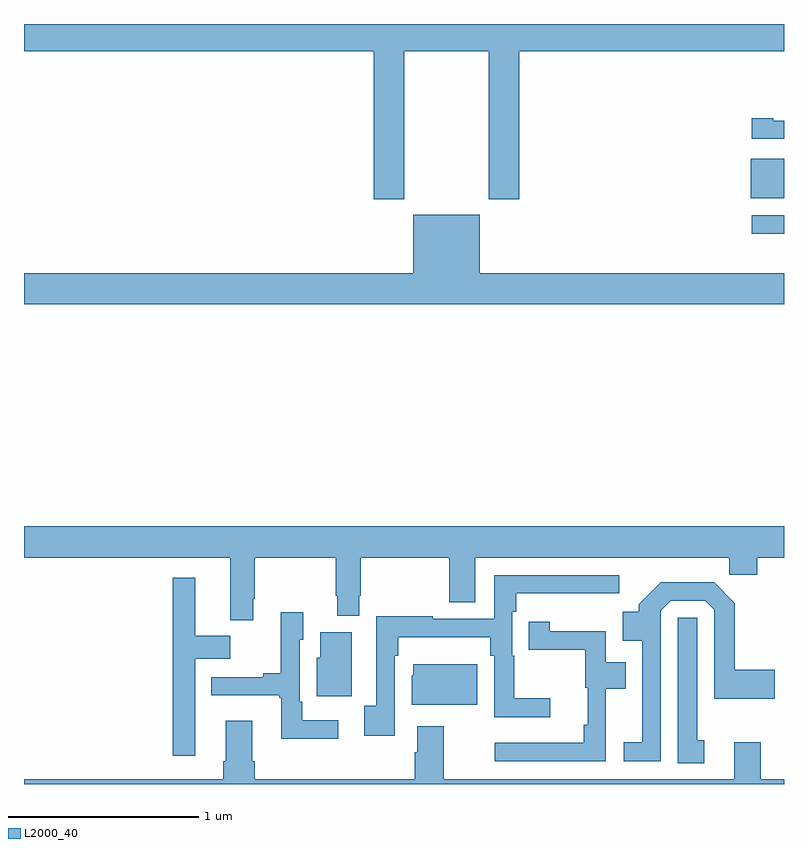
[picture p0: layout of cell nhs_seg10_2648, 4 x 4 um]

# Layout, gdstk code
import gdstk
lib = gdstk.Library(unit=1e-6, precision=1e-09)
def R(c, l, rs):  # rectangles x0, y0, x1, y1
    for r in rs: c.add(gdstk.rectangle(r[:2], r[2:], *l))
def P(c, l, *ps):  # polygons
    for p in ps: c.add(gdstk.Polygon(p, *l))
L2000_40 = (2000, 40)

nhs_seg10_2648 = lib.new_cell('nhs_seg10_2648')
R(nhs_seg10_2648, L2000_40, [(258.831,1259.397,259,1259.493), (258.824,1259.582,259,1259.791)])
P(nhs_seg10_2648, L2000_40, [(257.001,1260.356),(257.446,1260.356),(257.446,1259.577),(257.606,1259.577),(257.606,1260.356),(259,1260.356),(259,1260.5),(255,1260.5),(255,1260.356),(256.841,1260.356),(256.841,1259.577),(257.001,1259.577)],
  [(259,1259.991),(258.943,1259.991),(258.943,1260.004),(258.831,1260.004),(258.831,1259.895),(259,1259.895)],
  [(259,1259.188),(257.398,1259.188),(257.398,1259.497),(257.048,1259.497),(257.048,1259.188),(255,1259.188),(255,1259.024),(259,1259.024)],
  [(256.207,1257.475),(256.215,1257.475),(256.215,1257.692),(256.642,1257.692),(256.642,1257.49),(256.649,1257.49),(256.649,1257.385),(256.765,1257.385),(256.765,1257.49),(256.773,1257.49),(256.773,1257.692),(257.239,1257.692),(257.239,1257.456),(257.374,1257.456),(257.374,1257.692),(258.712,1257.692),(258.712,1257.602),(258.859,1257.602),(258.859,1257.692),(259,1257.692),(259,1257.856),(255,1257.856),(255,1257.692),(256.085,1257.692),(256.085,1257.363),(256.207,1257.363)],
  [(256.95,1257.176),(256.97,1257.176),(256.97,1257.272),(257.455,1257.272),(257.455,1257.176),(257.475,1257.176),(257.475,1256.852),(257.77,1256.852),(257.77,1256.952),(257.581,1256.952),(257.581,1257.176),(257.571,1257.176),(257.571,1257.407),(257.591,1257.407),(257.591,1257.503),(258.133,1257.503),(258.133,1257.6),(257.475,1257.6),(257.475,1257.369),(257.15,1257.369),(257.15,1257.382),(256.854,1257.382),(256.854,1256.913),(256.791,1256.913),(256.791,1256.754),(256.95,1256.754)],
  [(255.901,1256.915),(255.9,1256.915),(255.9,1257.158),(256.085,1257.158),(256.085,1257.28),(255.902,1257.28),(255.902,1257.586),(255.784,1257.586),(255.784,1256.649),(255.901,1256.649)],
  [(258.351,1257.411),(258.405,1257.465),(258.585,1257.465),(258.633,1257.417),(258.633,1256.948),(258.952,1256.948),(258.952,1257.101),(258.742,1257.101),(258.742,1257.452),(258.632,1257.562),(258.352,1257.562),(258.235,1257.445),(258.235,1257.406),(258.152,1257.406),(258.152,1257.254),(258.255,1257.254),(258.255,1256.72),(258.156,1256.72),(258.156,1256.619),(258.351,1256.619)],
  [(256.654,1256.835),(256.465,1256.835),(256.465,1256.932),(256.452,1256.932),(256.452,1257.258),(256.471,1257.258),(256.471,1257.403),(256.351,1257.403),(256.351,1257.083),(256.259,1257.083),(256.259,1257.063),(255.985,1257.063),(255.985,1256.966),(256.344,1256.966),(256.344,1256.955),(256.355,1256.955),(256.355,1256.738),(256.654,1256.738)],
  [(258.58,1256.73),(258.544,1256.73),(258.544,1257.375),(258.44,1257.375),(258.44,1256.61),(258.58,1256.61)],
  [(258.063,1257.002),(258.166,1257.002),(258.166,1257.142),(258.063,1257.142),(258.063,1257.305),(257.767,1257.305),(257.767,1257.355),(257.656,1257.355),(257.656,1257.206),(257.955,1257.206),(257.955,1257.006),(257.966,1257.006),(257.966,1256.812),(257.947,1256.812),(257.947,1256.716),(257.478,1256.716),(257.478,1256.619),(258.063,1256.619)],
  [(256.725,1257.064),(256.726,1257.064),(256.726,1257.3),(256.559,1257.3),(256.559,1257.165),(256.541,1257.165),(256.541,1256.961),(256.725,1256.961)],
  [(257.386,1257.13),(257.048,1257.13),(257.048,1257.072),(257.042,1257.072),(257.042,1256.918),(257.386,1256.918)],
  [(259,1256.524),(258.877,1256.524),(258.877,1256.719),(258.737,1256.719),(258.737,1256.524),(257.209,1256.524),(257.209,1256.803),(257.069,1256.803),(257.069,1256.666),(257.057,1256.666),(257.057,1256.524),(256.214,1256.524),(256.214,1256.62),(256.201,1256.62),(256.201,1256.833),(256.061,1256.833),(256.061,1256.62),(256.049,1256.62),(256.049,1256.524),(255,1256.524),(255,1256.5),(259,1256.5)])

lib.write_gds('nhs_seg10_2648.gds')
